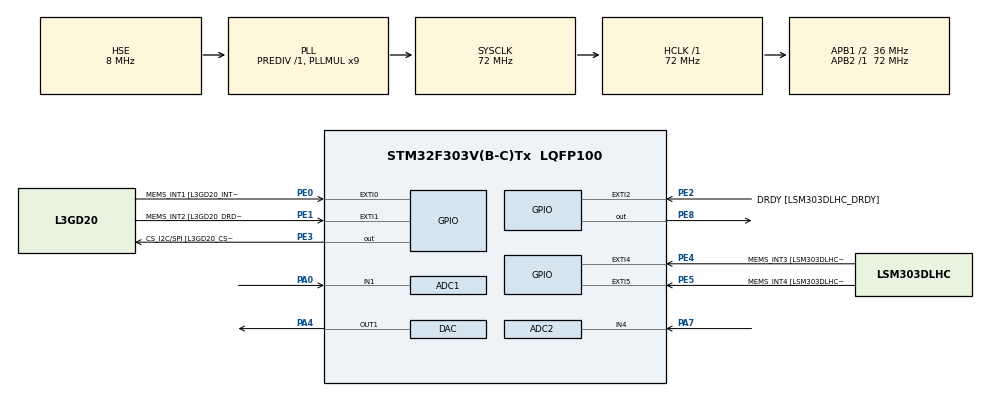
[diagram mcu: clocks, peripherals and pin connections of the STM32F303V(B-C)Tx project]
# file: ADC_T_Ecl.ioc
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ADC1.Channel-37\#ChannelRegularConversion=ADC_CHANNEL_1
ADC1.ClockPrescaler=ADC_CLOCK_ASYNC_DIV1
ADC1.ContinuousConvMode=DISABLE
ADC1.DMAContinuousRequests=ENABLE
ADC1.DataAlign=ADC_DATAALIGN_RIGHT
ADC1.DiscontinuousConvMode=DISABLE
ADC1.EOCSelection=ADC_EOC_SINGLE_CONV
ADC1.EnableAnalogWatchDog1=false
ADC1.EnableAnalogWatchDog2=false
ADC1.EnableAnalogWatchDog3=false
ADC1.EnableInjectedConversion=ENABLE
ADC1.EnableRegularConversion=ENABLE
ADC1.ExternalTrigConv=ADC_EXTERNALTRIGCONV_T6_TRGO
ADC1.ExternalTrigConvEdge=ADC_EXTERNALTRIGCONVEDGE_RISINGFALLING
ADC1.InjNumberOfConversion=0
ADC1.LowPowerAutoWait=DISABLE
ADC1.Mode=ADC_DUALMODE_REGSIMULT
ADC1.NbrOfConversion=1
ADC1.NbrOfConversionFlag=1
ADC1.Offset-37\#ChannelRegularConversion=0
ADC1.OffsetNumber-37\#ChannelRegularConversion=ADC_OFFSET_NONE
ADC1.Overrun=ADC_OVR_DATA_OVERWRITTEN
ADC1.Rank-37\#ChannelRegularConversion=1
ADC1.Resolution=ADC_RESOLUTION_12B
ADC1.SamplingTime-37\#ChannelRegularConversion=ADC_SAMPLETIME_1CYCLE_5
ADC1.ScanConvMode=ADC_SCAN_DISABLE
ADC1.TwoSamplingDelay=ADC_TWOSAMPLINGDELAY_4CYCLES
ADC1.master=1
ADC2.Channel-36\#ChannelRegularConversion=ADC_CHANNEL_4
ADC2.ClockPrescaler=ADC_CLOCK_ASYNC_DIV1
ADC2.ContinuousConvMode=DISABLE
ADC2.DMAContinuousRequests=DISABLE
ADC2.DataAlign=ADC_DATAALIGN_RIGHT
ADC2.DiscontinuousConvMode=DISABLE
ADC2.EOCSelection=ADC_EOC_SINGLE_CONV
ADC2.EnableAnalogWatchDog1=false
ADC2.EnableAnalogWatchDog2=false
ADC2.EnableAnalogWatchDog3=false
ADC2.EnableInjectedConversion=ENABLE
ADC2.EnableRegularConversion=ENABLE
ADC2.LowPowerAutoWait=DISABLE
ADC2.Mode=ADC_DUALMODE_REGSIMULT
ADC2.NbrOfConversion=1
ADC2.NbrOfConversionFlag=1
ADC2.Offset-36\#ChannelRegularConversion=0
ADC2.OffsetNumber-36\#ChannelRegularConversion=ADC_OFFSET_NONE
ADC2.Overrun=ADC_OVR_DATA_OVERWRITTEN
ADC2.Rank-36\#ChannelRegularConversion=1
ADC2.Resolution=ADC_RESOLUTION_12B
ADC2.SamplingTime-36\#ChannelRegularConversion=ADC_SAMPLETIME_1CYCLE_5
ADC2.ScanConvMode=ADC_SCAN_DISABLE
ADC2.TwoSamplingDelay=ADC_TWOSAMPLINGDELAY_4CYCLES
DAC.DAC_Trigger=DAC_TRIGGER_T6_TRGO
Dma.ADC1.1.Direction=DMA_PERIPH_TO_MEMORY
Dma.ADC1.1.Instance=DMA1_Channel1
Dma.ADC1.1.MemDataAlignment=DMA_MDATAALIGN_WORD
Dma.ADC1.1.MemInc=DMA_MINC_ENABLE
Dma.ADC1.1.Mode=DMA_CIRCULAR
Dma.ADC1.1.PeriphDataAlignment=DMA_PDATAALIGN_WORD
Dma.ADC1.1.PeriphInc=DMA_PINC_DISABLE
Dma.ADC1.1.Priority=DMA_PRIORITY_HIGH
Dma.DAC_CH1.0.Direction=DMA_MEMORY_TO_PERIPH
Dma.DAC_CH1.0.Instance=DMA1_Channel3
Dma.DAC_CH1.0.MemDataAlignment=DMA_MDATAALIGN_HALFWORD
Dma.DAC_CH1.0.MemInc=DMA_MINC_ENABLE
Dma.DAC_CH1.0.Mode=DMA_CIRCULAR
Dma.DAC_CH1.0.PeriphDataAlignment=DMA_PDATAALIGN_HALFWORD
Dma.DAC_CH1.0.PeriphInc=DMA_PINC_DISABLE
Dma.DAC_CH1.0.Priority=DMA_PRIORITY_LOW
Dma.Request0=DAC_CH1
Dma.Request1=ADC1
Mcu.Family=STM32F3
Mcu.Name=STM32F303V(B-C)Tx
Mcu.Package=LQFP100
NVIC.DMA1_Channel1_IRQn=true\:0\:0\:false\:false\:true\:false
NVIC.DMA1_Channel3_IRQn=true\:0\:0\:false\:false\:true\:false
NVIC.PriorityGroup=NVIC_PRIORITYGROUP_0
PA0.Mode=IN1-Single-Ended
PA0.Signal=ADC1_IN1
PA11.GPIO_Label=DM
PA11.Signal=USB_DM
PA12.GPIO_Label=DP
PA12.Signal=USB_DP
PA13.GPIO_Label=SWDIO
PA13.Mode=Serial_Wire
PA13.Signal=SYS_JTMS-SWDIO
PA14.GPIO_Label=SWCLK
PA14.Mode=Serial_Wire
PA14.Signal=SYS_JTCK-SWCLK
PA4.Signal=COMP_DAC1_group
PA7.Mode=IN4-Single-Ended
PA7.Signal=ADC2_IN4
PB3.GPIO_Label=SWO
PB3.Signal=SYS_JTDO-TRACESWO
PB6.GPIO_Label=I2C1_SCL [LSM303DLHC_SCL]
PB6.Signal=I2C1_SCL
PB7.GPIO_Label=I2C1_SDA [LSM303DLHC_SDA]
PB7.Signal=I2C1_SDA
PC14-OSC32_IN.GPIO_Label=OSC32_IN
PC14-OSC32_IN.Signal=RCC_OSC32_IN
PC15-OSC32_OUT.GPIO_Label=OSC32_OUT
PC15-OSC32_OUT.Signal=RCC_OSC32_OUT
PE0.GPIO_Label=MEMS_INT1 [L3GD20_INT1]
PE0.GPIO_ModeDefaultEXTI=GPIO_MODE_EVT_RISING
PE0.Signal=GPXTI0
PE1.GPIO_Label=MEMS_INT2 [L3GD20_DRDY/INT2]
PE1.GPIO_ModeDefaultEXTI=GPIO_MODE_EVT_RISING
PE1.Signal=GPXTI1
PE2.GPIO_Label=DRDY [LSM303DLHC_DRDY]
PE2.GPIO_ModeDefaultEXTI=GPIO_MODE_EVT_RISING
PE2.Signal=GPXTI2
PE3.GPIO_Label=CS_I2C/SPI [L3GD20_CS_I2C/SPI]
PE3.Signal=GPIO_Output
PE4.GPIO_Label=MEMS_INT3 [LSM303DLHC_INT1]
PE4.GPIO_ModeDefaultEXTI=GPIO_MODE_EVT_RISING
PE4.Signal=GPXTI4
PE5.GPIO_Label=MEMS_INT4 [LSM303DLHC_INT2]
PE5.GPIO_ModeDefaultEXTI=GPIO_MODE_EVT_RISING
PE5.Signal=GPXTI5
PE8.Signal=GPIO_Output
PF0-OSC_IN.GPIO_Label=OSC_IN
PF0-OSC_IN.Mode=HSE-External-Clock-Source
PF0-OSC_IN.Signal=RCC_OSC_IN
PF1-OSC_OUT.GPIO_Label=OSC_OUT
PF1-OSC_OUT.Signal=RCC_OSC_OUT
ProjectManager.HeapSize=0x200
ProjectManager.StackSize=0x400
ProjectManager.TargetToolchain=SW4STM32
RCC.AHBFreq_Value=72000000
RCC.APB1CLKDivider=RCC_HCLK_DIV2
RCC.APB1Freq_Value=36000000
RCC.APB1TimFreq_Value=72000000
RCC.APB2Freq_Value=72000000
RCC.APB2TimFreq_Value=72000000
RCC.CortexFreq_Value=72000000
RCC.HCLKFreq_Value=72000000
RCC.HSE_VALUE=8000000
RCC.HSI_VALUE=8000000
RCC.LSE_VALUE=32768
RCC.PLLMUL=RCC_PLL_MUL9
RCC.PLLSourceVirtual=RCC_PLLSOURCE_HSE
RCC.PRESCALERUSB=RCC_USBCLKSOURCE_PLL_DIV1_5
RCC.SYSCLKFreq_VALUE=72000000
RCC.SYSCLKSourceVirtual=RCC_SYSCLKSOURCE_PLLCLK
RCC.USBFreq_Value=48000000
SH.COMP_DAC1_group.0=DAC_OUT1,DAC_OUT1
TIM6.Period=112
TIM6.TIM_MasterOutputTrigger=TIM_TRGO_UPDATE
VP_TIM6_VS_ClockSourceINT.Mode=Enable_Timer
board=STM32F3DISCOVERY

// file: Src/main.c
/**
  ******************************************************************************
  * @file           : main.c
  * @brief          : Main program body
  * Author          : Kayas Ahmed
  ******************************************************************************
  ** This notice applies to any and all portions of this file
  * that are not between comment pairs USER CODE BEGIN and
  * USER CODE END. Other portions of this file, whether
  * inserted by the user or by software development tools
  * are owned by their respective copyright owners.
  *
  * COPYRIGHT(c) 2018 STMicroelectronics
  *
  * Redistribution and use in source and binary forms, with or without modification,
  * are permitted provided that the following conditions are met:
  *   1. Redistributions of source code must retain the above copyright notice,
  *      this list of conditions and the following disclaimer.
  *   2. Redistributions in binary form must reproduce the above copyright notice,
  *      this list of conditions and the following disclaimer in the documentation
  *      and/or other materials provided with the distribution.
  *   3. Neither the name of STMicroelectronics nor the names of its contributors
  *      may be used to endorse or promote products derived from this software
  *      without specific prior written permission.
  *
  * THIS SOFTWARE IS PROVIDED BY THE COPYRIGHT HOLDERS AND CONTRIBUTORS "AS IS"
  * AND ANY EXPRESS OR IMPLIED WARRANTIES, INCLUDING, BUT NOT LIMITED TO, THE
  * IMPLIED WARRANTIES OF MERCHANTABILITY AND FITNESS FOR A PARTICULAR PURPOSE ARE
  * DISCLAIMED. IN NO EVENT SHALL THE COPYRIGHT HOLDER OR CONTRIBUTORS BE LIABLE
  * FOR ANY DIRECT, INDIRECT, INCIDENTAL, SPECIAL, EXEMPLARY, OR CONSEQUENTIAL
  * DAMAGES (INCLUDING, BUT NOT LIMITED TO, PROCUREMENT OF SUBSTITUTE GOODS OR
  * SERVICES; LOSS OF USE, DATA, OR PROFITS; OR BUSINESS INTERRUPTION) HOWEVER
  * CAUSED AND ON ANY THEORY OF LIABILITY, WHETHER IN CONTRACT, STRICT LIABILITY,
  * OR TORT (INCLUDING NEGLIGENCE OR OTHERWISE) ARISING IN ANY WAY OUT OF THE USE
  * OF THIS SOFTWARE, EVEN IF ADVISED OF THE POSSIBILITY OF SUCH DAMAGE.
  *
  ******************************************************************************
  */
#include "main.h"
#include "stm32f3xx_hal.h"
#include "adc.h"
#include "dac.h"
#include "dma.h"
#include "tim.h"
#include "gpio.h"

/* USER CODE BEGIN Includes */
#include "arm_math.h"
/* USER CODE END Includes */

/* USER CODE BEGIN PV */
/* Private variables ---------------------------------------------------------*/
#define U0 3
#define ARM_MATH_CM4
#define DACSAMPLE 32
#define ADCSAMPLE 320
#define FREQ 100000 //Frequency for signal
/* USER CODE END PV */

void SystemClock_Config(void);

/* USER CODE BEGIN PFP */
/* Private function prototypes -----------------------------------------------*/
void Set_DAC_Freq(uint32_t );
void Sin_Gen(void);
void calc();
void DFT();
/* USER CODE END PFP */

/* USER CODE BEGIN 0 */
uint16_t NUM_SAMPLES_DAC =DACSAMPLE;
uint16_t NUM_SAMPLES_ADC =ADCSAMPLE;
uint8_t no=0;
uint32_t frequen[5]={10000,25000,50000,75000,100000};
uint32_t ADC1ConvertedValues[ADCSAMPLE];
uint16_t Sine_Lut[DACSAMPLE];
uint16_t  Voltage_val[ADCSAMPLE], Current_val[ADCSAMPLE];
uint32_t  FFT_Data[ADCSAMPLE];
float X_Real_V , X_Imag_V,X_Real_C , X_Imag_C,Phase_V,Abs_C,Abs_V;
float Imp, Phase_V, Phase_C, Phase, impe_freq[5];
volatile int busy=0,flag=0;
/* USER CODE END 0 */

int main(void)
{

  /* MCU Configuration----------------------------------------------------------*/

  /* Reset of all peripherals, Initializes the Flash interface and the Systick. */
  HAL_Init();

  /* USER CODE BEGIN Init */
//Generates Sine wave

  /* USER CODE END Init */

  /* Configure the system clock */
  SystemClock_Config();

  /* Initialize all configured peripherals */
  MX_GPIO_Init();
  MX_DMA_Init();
  MX_DAC_Init();
  MX_TIM6_Init();
  MX_ADC1_Init();
  MX_ADC2_Init();

  /* USER CODE BEGIN 2 */

  /* SETTING UP THE CONDITIONS */
  Sin_Gen();
  Set_DAC_Freq(FREQ);

  /* STARTING HARDWARE COMPONENTS */
  HAL_DAC_Start_DMA(&hdac, DAC_CHANNEL_1, (uint32_t*)Sine_Lut, NUM_SAMPLES_DAC, DAC_ALIGN_12B_R);
  HAL_ADCEx_Calibration_Start(&hadc1, ADC_SINGLE_ENDED);
  HAL_ADCEx_Calibration_Start(&hadc2, ADC_SINGLE_ENDED);
  HAL_ADCEx_MultiModeStart_DMA(&hadc1, ADC1ConvertedValues, (sizeof(ADC1ConvertedValues)));
  HAL_TIM_Base_Start(&htim6);

  /* USER CODE END 2 */

  /* Infinite loop */
  while (1)
  {

  }

}

void SystemClock_Config(void)
{

  RCC_OscInitTypeDef RCC_OscInitStruct;
  RCC_ClkInitTypeDef RCC_ClkInitStruct;
  RCC_PeriphCLKInitTypeDef PeriphClkInit;

    /**Initializes the CPU, AHB and APB busses clocks
    */
  RCC_OscInitStruct.OscillatorType = RCC_OSCILLATORTYPE_HSE;
  RCC_OscInitStruct.HSEState = RCC_HSE_BYPASS;
  RCC_OscInitStruct.HSEPredivValue = RCC_HSE_PREDIV_DIV1;
  RCC_OscInitStruct.HSIState = RCC_HSI_ON;
  RCC_OscInitStruct.PLL.PLLState = RCC_PLL_ON;
  RCC_OscInitStruct.PLL.PLLSource = RCC_PLLSOURCE_HSE;
  RCC_OscInitStruct.PLL.PLLMUL = RCC_PLL_MUL9;
  if (HAL_RCC_OscConfig(&RCC_OscInitStruct) != HAL_OK)
  {
    _Error_Handler(__FILE__, __LINE__);
  }

    /**Initializes the CPU, AHB and APB busses clocks
    */
  RCC_ClkInitStruct.ClockType = RCC_CLOCKTYPE_HCLK|RCC_CLOCKTYPE_SYSCLK
                              |RCC_CLOCKTYPE_PCLK1|RCC_CLOCKTYPE_PCLK2;
  RCC_ClkInitStruct.SYSCLKSource = RCC_SYSCLKSOURCE_PLLCLK;
  RCC_ClkInitStruct.AHBCLKDivider = RCC_SYSCLK_DIV1;
  RCC_ClkInitStruct.APB1CLKDivider = RCC_HCLK_DIV2;
  RCC_ClkInitStruct.APB2CLKDivider = RCC_HCLK_DIV1;

  if (HAL_RCC_ClockConfig(&RCC_ClkInitStruct, FLASH_LATENCY_2) != HAL_OK)
  {
    _Error_Handler(__FILE__, __LINE__);
  }

  PeriphClkInit.PeriphClockSelection = RCC_PERIPHCLK_ADC12;
  PeriphClkInit.Adc12ClockSelection = RCC_ADC12PLLCLK_DIV1;
  if (HAL_RCCEx_PeriphCLKConfig(&PeriphClkInit) != HAL_OK)
  {
    _Error_Handler(__FILE__, __LINE__);
  }

    /**Configure the Systick interrupt time
    */
  HAL_SYSTICK_Config(HAL_RCC_GetHCLKFreq()/1000);

    /**Configure the Systick
    */
  HAL_SYSTICK_CLKSourceConfig(SYSTICK_CLKSOURCE_HCLK);

  /* SysTick_IRQn interrupt configuration */
  HAL_NVIC_SetPriority(SysTick_IRQn, 0, 0);
}

/* USER CODE BEGIN 4 */
/*
 * This Function Generates Sine Signal
 *
 *
 */
void Sin_Gen()
{
	//gernerate LUT
  	for (int i=0; i< NUM_SAMPLES_DAC; i++)
  	{
  		Sine_Lut[i] = (0.8*cosf(((2*PI)/NUM_SAMPLES_DAC)*i)+1)*682;
  	}
}

/*
 * This Function sets DAC signal frequency by setting appropriate value in counter
 *
 *
 */
void Set_DAC_Freq(uint32_t freq)
{
	uint32_t	CP;

	//calculating the Counter Period for specific frequency
	CP=(RCC_FREQ/(NUM_SAMPLES_DAC*freq))-1;

	//setting Counter Period
	MX_TIM6_Init();
	htim6.Init.Period=CP;

	if (HAL_TIM_Base_Init(&htim6) != HAL_OK)
	{
		_Error_Handler(__FILE__, __LINE__);
	}

}

int h=0;
/*
 * Callback function after finishing sampling of ADC
 *  */
void HAL_ADC_ConvCpltCallback(ADC_HandleTypeDef* hadc)
{

  if(hadc->Instance==ADC1)
   {

        if(h==5)
        {
        	calc();
	        HAL_GPIO_TogglePin(GPIOE,GPIO_PIN_8);	//LED shows calculation are done
         	h=0;
         }
   h++;
   }
}

  /* NOTE : This function should not be modified. When the callback is needed,
            function HAL_ADC_ConvCpltCallback must be implemented in the user file.
   */

/*
 * This function separates ADC1 and ADC2 values
 */
void calc(){

    //separating values of the two ADCs
    for(int i=0;i<ADCSAMPLE;i++)
    {
	Voltage_val[i]=ADC1ConvertedValues[i]&0xffff;
        Current_val[i]=(ADC1ConvertedValues[i]&0xffff0000)>>16;

    }
    DFT();
    }

uint32_t N=ADCSAMPLE;

/*
 * Only calculating DFT for 10th BIN ie k=10, as it is our desired frequency
 */
void DFT()
{

	    X_Real_V = X_Imag_V=0.0;
	    X_Real_C = X_Imag_C=0.0;

	    //calculating DFT
	    for(int n=0;n<ADCSAMPLE;n++)
	     {
	       X_Real_V+=Voltage_val[n]*cos((2*PI*10*(n))/ADCSAMPLE);
	       X_Imag_V+=Voltage_val[n]*sin((2*PI*10*(n))/ADCSAMPLE);
	       X_Real_C+=-(Current_val[n]*cos((2*PI*10*(n))/ADCSAMPLE));
	       X_Imag_C+=-(Current_val[n]*sin((2*PI*10*(n))/ADCSAMPLE));

	     }

	    //getting average imaginary and real Voltage
	    X_Imag_V=(2*X_Imag_V/ADCSAMPLE)*U0/4095;
	    X_Real_V=(2*X_Real_V/ADCSAMPLE)*U0/4095;

	    //getting average real Voltage from Current to Voltage conv.
	    X_Imag_C=(2*X_Imag_C/ADCSAMPLE)*U0/4095;
	    X_Real_C=(2*X_Real_C/ADCSAMPLE)*U0/4095;

	    X_Imag_V=X_Imag_V*(-1.0);		//imaginary values are negative
	    X_Imag_C=X_Imag_C*(-1.0);

	    //getting magnitudes
	    Abs_V=sqrt((X_Imag_V*X_Imag_V)+(X_Real_V*X_Real_V));
	    Abs_C=sqrt((X_Imag_C*X_Imag_C)+(X_Real_C*X_Real_C));
            Imp=Abs_V/(Abs_C/910);			//Abs_C Value divided by Shunt-Resistor = I

	    //phase calculations
	    Phase_V = atan(X_Imag_V/X_Real_V)*180/PI;
		Phase_C = atan(X_Imag_C/X_Real_C)*180/PI;
		Phase = (Phase_V-Phase_C);

        busy=0;
        flag=0;

}

/* USER CODE END 4 */

void _Error_Handler(char *file, int line)
{
  while(1)
  {
  }
}

/************************ (C) COPYRIGHT STMicroelectronics *****END OF FILE****/
